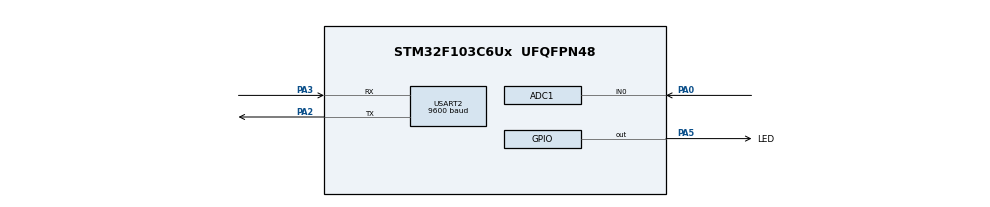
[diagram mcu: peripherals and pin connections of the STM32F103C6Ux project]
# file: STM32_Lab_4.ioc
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ADC1.Channel-0\#ChannelRegularConversion=ADC_CHANNEL_0
ADC1.ContinuousConvMode=ENABLE
ADC1.NbrOfConversionFlag=1
ADC1.Rank-0\#ChannelRegularConversion=1
ADC1.SamplingTime-0\#ChannelRegularConversion=ADC_SAMPLETIME_1CYCLE_5
ADC1.master=1
Mcu.Family=STM32F1
Mcu.Name=STM32F103C6Ux
Mcu.Package=UFQFPN48
NVIC.PriorityGroup=NVIC_PRIORITYGROUP_4
NVIC.TIM2_IRQn=true\:0\:0\:false\:false\:true\:true\:true
NVIC.USART2_IRQn=true\:0\:0\:false\:false\:true\:true\:true
PA0-WKUP.Signal=ADCx_IN0
PA2.Mode=Asynchronous
PA2.Signal=USART2_TX
PA3.Mode=Asynchronous
PA3.Signal=USART2_RX
PA5.GPIO_Label=LED
PA5.Signal=GPIO_Output
ProjectManager.HeapSize=0x200
ProjectManager.StackSize=0x400
ProjectManager.TargetToolchain=STM32CubeIDE
RCC.APB1Freq_Value=8000000
RCC.APB2Freq_Value=8000000
SH.ADCx_IN0.0=ADC1_IN0,IN0
TIM2.Period=9
TIM2.Prescaler=7999
USART2.BaudRate=9600
USART2.VirtualMode=VM_ASYNC
VP_SYS_VS_ND.Mode=No_Debug
VP_TIM2_VS_ClockSourceINT.Mode=Internal
board=custom

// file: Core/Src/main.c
/* USER CODE BEGIN Header */
/**
  ******************************************************************************
  * @file           : main.c
  * @brief          : Main program body
  ******************************************************************************
  * @attention
  *
  * <h2><center>&copy; Copyright (c) 2023 STMicroelectronics.
  * All rights reserved.</center></h2>
  *
  * This software component is licensed by ST under BSD 3-Clause license,
  * the "License"; You may not use this file except in compliance with the
  * License. You may obtain a copy of the License at:
  *                        opensource.org/licenses/BSD-3-Clause
  *
  ******************************************************************************
  */
/* USER CODE END Header */
#include "main.h"
#include "software_timer.h"

ADC_HandleTypeDef hadc1;

TIM_HandleTypeDef htim2;

UART_HandleTypeDef huart2;

void SystemClock_Config(void);
static void MX_GPIO_Init(void);
static void MX_ADC1_Init(void);
static void MX_USART2_UART_Init(void);
static void MX_TIM2_Init(void);

/* USER CODE BEGIN 0 */
#define MAX_BUFFER_SIZE 30

#define INIT 10
#define READ 11
#define ADC  12
#define IDLE 13
#define PROC 14

#define RST 1
#define OK 2

uint8_t temp = 0;
uint8_t buffer[MAX_BUFFER_SIZE];
uint8_t index_buffer = 0;
uint8_t buffer_flag = 0;
int read_state = INIT;
int communicate_state = IDLE;
uint32_t ADC_value = 0;
char str[20];
char data[MAX_BUFFER_SIZE];
int index_data = 0;
int flagADC = 0;

void HAL_UART_RxCpltCallback(UART_HandleTypeDef *huart){
	if (huart->Instance == USART2){
		HAL_UART_Transmit(&huart2, &temp, 1, 50);
		buffer[index_buffer++]=temp;
		if (index_buffer == MAX_BUFFER_SIZE) index_buffer = 0;
		buffer_flag = 1;
		HAL_UART_Receive_IT(&huart2, &temp, 1);
	}
}

void clearMEM(){
	memset(data,'\0',sizeof(data));
	index_data=0;
}

void command_parser_fsm() {
	switch(read_state){
	case INIT:
		if (buffer[index_buffer-1] == '!') read_state = READ;
		clearMEM();
		data[index_data++] = buffer[index_buffer-1];
		break;
	case READ:
		if (buffer[index_buffer-1] == '!'){
			clearMEM();
			data[index_data++] = buffer[index_buffer-1];
		}
		else if (buffer[index_buffer-1] == '#') {
			communicate_state = PROC;
			read_state = INIT;
		}
		else {
			data[index_data++] = buffer[index_buffer-1];
		}
		break;
	default:
		break;
	}
}

void uart_communication_fsm(){
	switch(communicate_state){
	case IDLE:
		break;

	case PROC:
		if (strcmp(data,"!RST") == 0) communicate_state = RST;
		else if (strcmp(data,"!OK") == 0) communicate_state = OK;
		else {
			communicate_state = (flagADC) ? ADC : IDLE;
			clearMEM();
		}
		break;
	case RST:
		flagADC = 1;
		HAL_ADC_Start(&hadc1);
		ADC_value = HAL_ADC_GetValue(&hadc1);
		HAL_ADC_Stop(&hadc1);
		HAL_UART_Transmit(&huart2, (void*)str, sprintf(str,"\r\n!ADC=%ld#",ADC_value), 1000);
		setTimer(0,3000);
		communicate_state = ADC;
		break;
	case ADC:
		flagADC = 1;
		if (timerFlag[0] == 1){
			clearMEM();
			communicate_state = RST;
		}
		break;
	case OK:
		flagADC = 0;
		HAL_GPIO_TogglePin(LED_GPIO_Port, LED_Pin);
		setTimer(0, 10);
		timerFlag[0] = 0;
		communicate_state = IDLE;
	default:
		break;
	}
}
/* USER CODE END 0 */

int main(void)
{

  /* MCU Configuration--------------------------------------------------------*/

  /* Reset of all peripherals, Initializes the Flash interface and the Systick. */
  HAL_Init();

  /* Configure the system clock */
  SystemClock_Config();

  /* Initialize all configured peripherals */
  MX_GPIO_Init();
  MX_ADC1_Init();
  MX_USART2_UART_Init();
  MX_TIM2_Init();
  /* USER CODE BEGIN 2 */
  HAL_UART_Receive_IT(&huart2, &temp , 1);
  HAL_TIM_Base_Start_IT(&htim2);
  /* USER CODE END 2 */
  setTimer(0, 100);
  /* Infinite loop */
  while(1)
  {
	  if (buffer_flag == 1){
	 		  command_parser_fsm();
	 		  buffer_flag = 0;
	 	  }
	 	  uart_communication_fsm();
  }
}

void SystemClock_Config(void)
{
  RCC_OscInitTypeDef RCC_OscInitStruct = {0};
  RCC_ClkInitTypeDef RCC_ClkInitStruct = {0};
  RCC_PeriphCLKInitTypeDef PeriphClkInit = {0};

  /** Initializes the RCC Oscillators according to the specified parameters
  * in the RCC_OscInitTypeDef structure.
  */
  RCC_OscInitStruct.OscillatorType = RCC_OSCILLATORTYPE_HSI;
  RCC_OscInitStruct.HSIState = RCC_HSI_ON;
  RCC_OscInitStruct.HSICalibrationValue = RCC_HSICALIBRATION_DEFAULT;
  RCC_OscInitStruct.PLL.PLLState = RCC_PLL_NONE;
  if (HAL_RCC_OscConfig(&RCC_OscInitStruct) != HAL_OK)
  {
    Error_Handler();
  }
  /** Initializes the CPU, AHB and APB buses clocks
  */
  RCC_ClkInitStruct.ClockType = RCC_CLOCKTYPE_HCLK|RCC_CLOCKTYPE_SYSCLK
                              |RCC_CLOCKTYPE_PCLK1|RCC_CLOCKTYPE_PCLK2;
  RCC_ClkInitStruct.SYSCLKSource = RCC_SYSCLKSOURCE_HSI;
  RCC_ClkInitStruct.AHBCLKDivider = RCC_SYSCLK_DIV1;
  RCC_ClkInitStruct.APB1CLKDivider = RCC_HCLK_DIV1;
  RCC_ClkInitStruct.APB2CLKDivider = RCC_HCLK_DIV1;

  if (HAL_RCC_ClockConfig(&RCC_ClkInitStruct, FLASH_LATENCY_0) != HAL_OK)
  {
    Error_Handler();
  }
  PeriphClkInit.PeriphClockSelection = RCC_PERIPHCLK_ADC;
  PeriphClkInit.AdcClockSelection = RCC_ADCPCLK2_DIV2;
  if (HAL_RCCEx_PeriphCLKConfig(&PeriphClkInit) != HAL_OK)
  {
    Error_Handler();
  }
}

static void MX_ADC1_Init(void)
{

  ADC_ChannelConfTypeDef sConfig = {0};

  /** Common config
  */
  hadc1.Instance = ADC1;
  hadc1.Init.ScanConvMode = ADC_SCAN_DISABLE;
  hadc1.Init.ContinuousConvMode = ENABLE;
  hadc1.Init.DiscontinuousConvMode = DISABLE;
  hadc1.Init.ExternalTrigConv = ADC_SOFTWARE_START;
  hadc1.Init.DataAlign = ADC_DATAALIGN_RIGHT;
  hadc1.Init.NbrOfConversion = 1;
  if (HAL_ADC_Init(&hadc1) != HAL_OK)
  {
    Error_Handler();
  }
  /** Configure Regular Channel
  */
  sConfig.Channel = ADC_CHANNEL_0;
  sConfig.Rank = ADC_REGULAR_RANK_1;
  sConfig.SamplingTime = ADC_SAMPLETIME_1CYCLE_5;
  if (HAL_ADC_ConfigChannel(&hadc1, &sConfig) != HAL_OK)
  {
    Error_Handler();
  }

}

static void MX_TIM2_Init(void)
{

  TIM_ClockConfigTypeDef sClockSourceConfig = {0};
  TIM_MasterConfigTypeDef sMasterConfig = {0};

  htim2.Instance = TIM2;
  htim2.Init.Prescaler = 7999;
  htim2.Init.CounterMode = TIM_COUNTERMODE_UP;
  htim2.Init.Period = 9;
  htim2.Init.ClockDivision = TIM_CLOCKDIVISION_DIV1;
  htim2.Init.AutoReloadPreload = TIM_AUTORELOAD_PRELOAD_DISABLE;
  if (HAL_TIM_Base_Init(&htim2) != HAL_OK)
  {
    Error_Handler();
  }
  sClockSourceConfig.ClockSource = TIM_CLOCKSOURCE_INTERNAL;
  if (HAL_TIM_ConfigClockSource(&htim2, &sClockSourceConfig) != HAL_OK)
  {
    Error_Handler();
  }
  sMasterConfig.MasterOutputTrigger = TIM_TRGO_RESET;
  sMasterConfig.MasterSlaveMode = TIM_MASTERSLAVEMODE_DISABLE;
  if (HAL_TIMEx_MasterConfigSynchronization(&htim2, &sMasterConfig) != HAL_OK)
  {
    Error_Handler();
  }

}

static void MX_USART2_UART_Init(void)
{

  huart2.Instance = USART2;
  huart2.Init.BaudRate = 9600;
  huart2.Init.WordLength = UART_WORDLENGTH_8B;
  huart2.Init.StopBits = UART_STOPBITS_1;
  huart2.Init.Parity = UART_PARITY_NONE;
  huart2.Init.Mode = UART_MODE_TX_RX;
  huart2.Init.HwFlowCtl = UART_HWCONTROL_NONE;
  huart2.Init.OverSampling = UART_OVERSAMPLING_16;
  if (HAL_UART_Init(&huart2) != HAL_OK)
  {
    Error_Handler();
  }

}

static void MX_GPIO_Init(void)
{
  GPIO_InitTypeDef GPIO_InitStruct = {0};

  /* GPIO Ports Clock Enable */
  __HAL_RCC_GPIOA_CLK_ENABLE();

  /*Configure GPIO pin Output Level */
  HAL_GPIO_WritePin(LED_GPIO_Port, LED_Pin, GPIO_PIN_RESET);

  /*Configure GPIO pin : LED_Pin */
  GPIO_InitStruct.Pin = LED_Pin;
  GPIO_InitStruct.Mode = GPIO_MODE_OUTPUT_PP;
  GPIO_InitStruct.Pull = GPIO_NOPULL;
  GPIO_InitStruct.Speed = GPIO_SPEED_FREQ_LOW;
  HAL_GPIO_Init(LED_GPIO_Port, &GPIO_InitStruct);

}

/* USER CODE BEGIN 4 */
void HAL_TIM_PeriodElapsedCallback(TIM_HandleTypeDef *htim){
	timerRun();
}
/* USER CODE END 4 */

void Error_Handler(void)
{
  __disable_irq();
  while (1)
  {
  }
}

/************************ (C) COPYRIGHT STMicroelectronics *****END OF FILE****/
